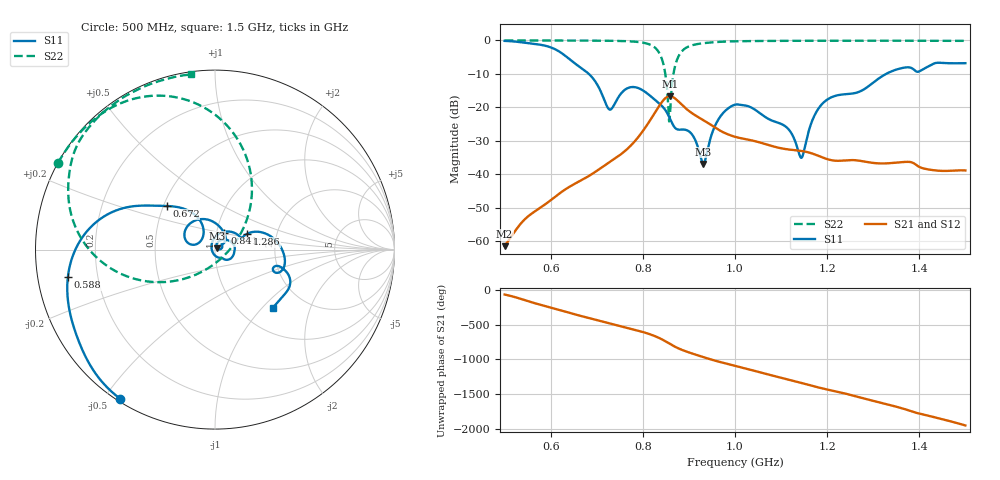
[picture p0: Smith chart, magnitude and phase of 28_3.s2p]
! TOUCHSTONE file generated by CST MICROWAVE STUDIO
! Date and time: Fri Oct 30 08:08:30 2020
! Project name: Scenario_1_Circular_Tissue_out_of_Line.cst
! Parameters = {dy1=122.207; L_HA=400; MT=2.54; Rad_Dielectric=30; Rad_Lower=7.3; Rad_Upper=30; a_HA=580; a_WG=246; b_HA=500; b_WG=121; c_HA=0; c_WG=187; d_feed=85; dx1=520; h_feed=15; h_lower=18; h_upper=40}
! Header version: 2018
! Port assignment regex: !\s*Touchstone port\s*([0-9]+)\s*=\s*(CST MWS port|CST DS port)\s*([0-9]+|Zmin|Zmax)\s*\(\"(.*)\"\)(\s*mode\s*([0-9]+))?.*
! Touchstone port assignment:
! Touchstone port 1 = CST MWS port 1 ("")
! Touchstone port 2 = CST MWS port 2 ("")
# GHz S DB R 50
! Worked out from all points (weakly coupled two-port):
!   1001 points, 500 MHz to 1.5 GHz, reference 50 ohm
!   highest |S21| = -16.67 dB at 859 MHz (marker M1); lowest = -61.5 dB at 500 MHz (marker M2)
!   lowest |S11| = -36.9 dB at 931 MHz (marker M3), VSWR 1.03, Z = 51.2 + j0.816 ohm
!   |S11| at or under -10 dB: 682.7 MHz to 1.328 GHz (645.2 MHz wide, 64.2 % of centre)
!   |S22| runs from -24.2 to 0.0 dB; largest |S21 - S12| = 0.00014
!   S11 on the Smith chart (normalised r, x): 500 MHz: 0.01, -0.55; 588 MHz: 0.09, -0.09; 672 MHz: 0.52, +0.29; 841 MHz: 1.09, +0.20; 1.286 GHz: 1.41, +0.26; 1.5 GHz: 1.40, -1.15
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0.5  -0.13 -122.5  -61.47 -64.6  -61.47 -64.6  -0.01 151.1
0.588  -1.58 -169.4  -48.98 129.1  -48.98 129.1  -0.02 145.0
0.626  -4.01 161.8  -45.04 59.5  -45.04 59.5  -0.03 142.0
0.667  -8.30 140.6  -41.74 -16.4  -41.74 -16.4  -0.04 138.4
0.672  -8.80 138.0  -41.36 -25.0  -41.36 -25.0  -0.04 137.9
0.728  -20.66 143.4  -36.36 -121.4  -36.36 -121.4  -0.10 131.1
0.775  -13.94 141.3  -31.25 159.9  -31.25 159.9  -0.30 121.7
0.834  -18.66 69.4  -19.88 33.0  -19.88 33.0  -3.39 82.9
0.841  -19.53 60.5  -18.47 10.3  -18.47 10.3  -5.41 70.6
0.859  -23.41 37.4  -16.67 -57.6  -16.67 -57.6  -21.69 -94.4
0.879  -26.67 39.5  -18.46 -126.4  -18.46 -126.4  -4.34 -171.3
0.907  -28.13 13.0  -21.77 164.6  -21.77 164.6  -1.44 163.2
0.931  -36.92 34.0  -23.78 113.1  -23.78 113.1  -0.84 153.7
0.962  -24.07 57.8  -26.48 51.9  -26.48 51.9  -0.46 146.5
1  -19.20 10.3  -28.79 -12.3  -28.79 -12.3  -0.26 140.2
1.11  -25.74 -61.8  -32.46 159.1  -32.46 159.1  -0.12 128.8
1.143  -35.03 -156.5  -33.00 102.4  -33.00 102.4  -0.11 126.1
1.167  -24.17 94.7  -33.76 58.9  -33.76 58.9  -0.10 124.2
1.202  -17.51 48.3  -35.54 2.2  -35.54 2.2  -0.08 121.5
1.286  -14.06 26.2  -36.31 -135.0  -36.31 -135.0  -0.08 115.1
1.334  -9.58 10.9  -36.69 145.4  -36.69 145.4  -0.08 111.4
1.5  -6.80 -45.3  -38.85 -153.5  -38.85 -153.5  -0.13 97.8
